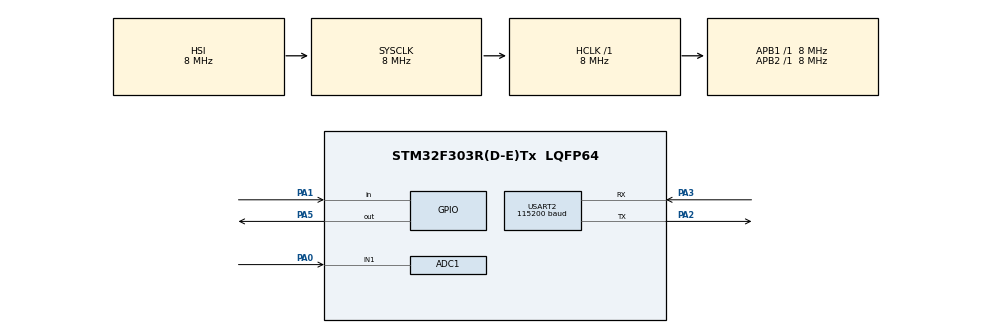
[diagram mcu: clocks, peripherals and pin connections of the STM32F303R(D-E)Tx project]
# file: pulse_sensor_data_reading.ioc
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ADC1.Channel-0\#ChannelRegularConversion=ADC_CHANNEL_1
ADC1.ContinuousConvMode=ENABLE
ADC1.DMAContinuousRequests=ENABLE
ADC1.NbrOfConversionFlag=1
ADC1.Offset-0\#ChannelRegularConversion=0
ADC1.OffsetNumber-0\#ChannelRegularConversion=ADC_OFFSET_NONE
ADC1.Rank-0\#ChannelRegularConversion=1
ADC1.SamplingTime-0\#ChannelRegularConversion=ADC_SAMPLETIME_1CYCLE_5
ADC1.master=1
Dma.ADC1.0.Direction=DMA_PERIPH_TO_MEMORY
Dma.ADC1.0.Instance=DMA1_Channel1
Dma.ADC1.0.MemDataAlignment=DMA_MDATAALIGN_WORD
Dma.ADC1.0.MemInc=DMA_MINC_ENABLE
Dma.ADC1.0.Mode=DMA_NORMAL
Dma.ADC1.0.PeriphDataAlignment=DMA_PDATAALIGN_HALFWORD
Dma.ADC1.0.PeriphInc=DMA_PINC_DISABLE
Dma.ADC1.0.Priority=DMA_PRIORITY_LOW
Dma.Request0=ADC1
Mcu.Family=STM32F3
Mcu.Name=STM32F303R(D-E)Tx
Mcu.Package=LQFP64
NVIC.DMA1_Channel1_IRQn=true\:0\:0\:false\:false\:true\:false\:true
NVIC.PriorityGroup=NVIC_PRIORITYGROUP_4
PA0.Mode=IN1-Single-Ended
PA0.Signal=ADC1_IN1
PA1.Signal=GPIO_Input
PA2.Mode=Asynchronous
PA2.Signal=USART2_TX
PA3.Mode=Asynchronous
PA3.Signal=USART2_RX
PA5.Signal=GPIO_Output
ProjectManager.HeapSize=0x200
ProjectManager.StackSize=0x400
ProjectManager.TargetToolchain=STM32CubeIDE
RCC.AHBFreq_Value=8000000
RCC.APB1Freq_Value=8000000
RCC.APB2Freq_Value=8000000
RCC.CortexFreq_Value=8000000
RCC.HSE_VALUE=8000000
RCC.HSI_VALUE=8000000
RCC.LSE_VALUE=32768
RCC.SYSCLKFreq_VALUE=8000000
RCC.USBFreq_Value=16000000
USART2.BaudRate=115200
USART2.VirtualMode-Asynchronous=VM_ASYNC
board=custom

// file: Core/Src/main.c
/* USER CODE BEGIN Header */
/**
  ******************************************************************************
  * @file           : main.c
  * @brief          : Main program body
  ******************************************************************************
  * @attention
  *
  * <h2><center>&copy; Copyright (c) 2020 STMicroelectronics.
  * All rights reserved.</center></h2>
  *
  * This software component is licensed by ST under BSD 3-Clause license,
  * the "License"; You may not use this file except in compliance with the
  * License. You may obtain a copy of the License at:
  *                        opensource.org/licenses/BSD-3-Clause
  *
  ******************************************************************************
  */
/* USER CODE END Header */

#include "main.h"

/* USER CODE BEGIN Includes */
#include <stdio.h>
#include <string.h>
/* USER CODE END Includes */

/* USER CODE BEGIN PD */
#define ADC_BUFFER_LEN 4096
/* USER CODE END PD */

ADC_HandleTypeDef hadc1;
DMA_HandleTypeDef hdma_adc1;

UART_HandleTypeDef huart2;

/* USER CODE BEGIN PV */
uint32_t g_pValues[ADC_BUFFER_LEN] = {0};

/* USER CODE END PV */

void SystemClock_Config(void);
static void MX_GPIO_Init(void);
static void MX_ADC1_Init(void);
static void MX_USART2_UART_Init(void);
static void MX_DMA_Init(void);

/* USER CODE BEGIN 0 */
void DMA_TransferComplete(DMA_HandleTypeDef *hdma)
{
	huart2.Instance->CR3 &= ~USART_CR3_DMAT;

	HAL_GPIO_TogglePin(GPIOA, GPIO_PIN_5);
}
/* USER CODE END 0 */

int main(void)
{

  /* MCU Configuration--------------------------------------------------------*/

  /* Reset of all peripherals, Initializes the Flash interface and the Systick. */
  HAL_Init();

  /* Configure the system clock */
  SystemClock_Config();

  /* Initialize all configured peripherals */
  MX_GPIO_Init();
  MX_ADC1_Init();
  MX_USART2_UART_Init();
  MX_DMA_Init();
  /* USER CODE BEGIN 2 */
  HAL_ADC_Start_DMA(&hadc1, g_pValues, ADC_BUFFER_LEN);
  /* USER CODE END 2 */

  /* Infinite loop */
  /* USER CODE BEGIN WHILE */
  char chMsg[10] = {0};
  uint32_t uiValue = 0, uiDigitVal = 0;
  while (1)
  {
    /* USER CODE END WHILE */

    /* USER CODE BEGIN 3 */
	  HAL_ADC_Start(&hadc1);
	  HAL_ADC_PollForConversion(&hadc1, HAL_MAX_DELAY);
	  uiValue = HAL_ADC_GetValue(&hadc1);
	  //uiDigitVal = HAL_GPIO_ReadPin(GPIOA, GPIO_PIN_1);
	  sprintf(chMsg, "%u\n\r", uiValue);
	  HAL_UART_Transmit(&huart2, chMsg, strlen(chMsg), HAL_MAX_DELAY);
  }
  /* USER CODE END 3 */
}

void SystemClock_Config(void)
{
  RCC_OscInitTypeDef RCC_OscInitStruct = {0};
  RCC_ClkInitTypeDef RCC_ClkInitStruct = {0};
  RCC_PeriphCLKInitTypeDef PeriphClkInit = {0};

  /** Initializes the CPU, AHB and APB busses clocks
  */
  RCC_OscInitStruct.OscillatorType = RCC_OSCILLATORTYPE_HSI;
  RCC_OscInitStruct.HSIState = RCC_HSI_ON;
  RCC_OscInitStruct.HSICalibrationValue = RCC_HSICALIBRATION_DEFAULT;
  RCC_OscInitStruct.PLL.PLLState = RCC_PLL_ON;
  RCC_OscInitStruct.PLL.PLLSource = RCC_PLLSOURCE_HSI;
  RCC_OscInitStruct.PLL.PLLMUL = RCC_PLL_MUL2;
  RCC_OscInitStruct.PLL.PREDIV = RCC_PREDIV_DIV1;
  if (HAL_RCC_OscConfig(&RCC_OscInitStruct) != HAL_OK)
  {
    Error_Handler();
  }
  /** Initializes the CPU, AHB and APB busses clocks
  */
  RCC_ClkInitStruct.ClockType = RCC_CLOCKTYPE_HCLK|RCC_CLOCKTYPE_SYSCLK
                              |RCC_CLOCKTYPE_PCLK1|RCC_CLOCKTYPE_PCLK2;
  RCC_ClkInitStruct.SYSCLKSource = RCC_SYSCLKSOURCE_HSI;
  RCC_ClkInitStruct.AHBCLKDivider = RCC_SYSCLK_DIV1;
  RCC_ClkInitStruct.APB1CLKDivider = RCC_HCLK_DIV1;
  RCC_ClkInitStruct.APB2CLKDivider = RCC_HCLK_DIV1;

  if (HAL_RCC_ClockConfig(&RCC_ClkInitStruct, FLASH_LATENCY_0) != HAL_OK)
  {
    Error_Handler();
  }
  PeriphClkInit.PeriphClockSelection = RCC_PERIPHCLK_USART2|RCC_PERIPHCLK_ADC12;
  PeriphClkInit.Usart2ClockSelection = RCC_USART2CLKSOURCE_PCLK1;
  PeriphClkInit.Adc12ClockSelection = RCC_ADC12PLLCLK_DIV1;
  if (HAL_RCCEx_PeriphCLKConfig(&PeriphClkInit) != HAL_OK)
  {
    Error_Handler();
  }
}

static void MX_ADC1_Init(void)
{

  ADC_MultiModeTypeDef multimode = {0};
  ADC_ChannelConfTypeDef sConfig = {0};

  /** Common config
  */
  hadc1.Instance = ADC1;
  hadc1.Init.ClockPrescaler = ADC_CLOCK_ASYNC_DIV1;
  hadc1.Init.Resolution = ADC_RESOLUTION_12B;
  hadc1.Init.ScanConvMode = ADC_SCAN_DISABLE;
  hadc1.Init.ContinuousConvMode = ENABLE;
  hadc1.Init.DiscontinuousConvMode = DISABLE;
  hadc1.Init.ExternalTrigConvEdge = ADC_EXTERNALTRIGCONVEDGE_NONE;
  hadc1.Init.ExternalTrigConv = ADC_SOFTWARE_START;
  hadc1.Init.DataAlign = ADC_DATAALIGN_RIGHT;
  hadc1.Init.NbrOfConversion = 1;
  hadc1.Init.DMAContinuousRequests = ENABLE;
  hadc1.Init.EOCSelection = ADC_EOC_SINGLE_CONV;
  hadc1.Init.LowPowerAutoWait = DISABLE;
  hadc1.Init.Overrun = ADC_OVR_DATA_OVERWRITTEN;
  if (HAL_ADC_Init(&hadc1) != HAL_OK)
  {
    Error_Handler();
  }
  /** Configure the ADC multi-mode
  */
  multimode.Mode = ADC_MODE_INDEPENDENT;
  if (HAL_ADCEx_MultiModeConfigChannel(&hadc1, &multimode) != HAL_OK)
  {
    Error_Handler();
  }
  /** Configure Regular Channel
  */
  sConfig.Channel = ADC_CHANNEL_1;
  sConfig.Rank = ADC_REGULAR_RANK_1;
  sConfig.SingleDiff = ADC_SINGLE_ENDED;
  sConfig.SamplingTime = ADC_SAMPLETIME_1CYCLE_5;
  sConfig.OffsetNumber = ADC_OFFSET_NONE;
  sConfig.Offset = 0;
  if (HAL_ADC_ConfigChannel(&hadc1, &sConfig) != HAL_OK)
  {
    Error_Handler();
  }

}

static void MX_USART2_UART_Init(void)
{

  huart2.Instance = USART2;
  huart2.Init.BaudRate = 115200;
  huart2.Init.WordLength = UART_WORDLENGTH_8B;
  huart2.Init.StopBits = UART_STOPBITS_1;
  huart2.Init.Parity = UART_PARITY_NONE;
  huart2.Init.Mode = UART_MODE_TX_RX;
  huart2.Init.HwFlowCtl = UART_HWCONTROL_NONE;
  huart2.Init.OverSampling = UART_OVERSAMPLING_16;
  huart2.Init.OneBitSampling = UART_ONE_BIT_SAMPLE_DISABLE;
  huart2.AdvancedInit.AdvFeatureInit = UART_ADVFEATURE_NO_INIT;
  if (HAL_UART_Init(&huart2) != HAL_OK)
  {
    Error_Handler();
  }

}

static void MX_DMA_Init(void)
{

  /* DMA controller clock enable */
  __HAL_RCC_DMA1_CLK_ENABLE();

  /* DMA interrupt init */
  /* DMA1_Channel1_IRQn interrupt configuration */
  HAL_NVIC_SetPriority(DMA1_Channel1_IRQn, 0, 0);
  HAL_NVIC_EnableIRQ(DMA1_Channel1_IRQn);

}

static void MX_GPIO_Init(void)
{
  GPIO_InitTypeDef GPIO_InitStruct = {0};

  /* GPIO Ports Clock Enable */
  __HAL_RCC_GPIOA_CLK_ENABLE();

  /*Configure GPIO pin Output Level */
  HAL_GPIO_WritePin(GPIOA, GPIO_PIN_5, GPIO_PIN_RESET);

  /*Configure GPIO pin : PA1 */
  GPIO_InitStruct.Pin = GPIO_PIN_1;
  GPIO_InitStruct.Mode = GPIO_MODE_INPUT;
  GPIO_InitStruct.Pull = GPIO_NOPULL;
  HAL_GPIO_Init(GPIOA, &GPIO_InitStruct);

  /*Configure GPIO pin : PA5 */
  GPIO_InitStruct.Pin = GPIO_PIN_5;
  GPIO_InitStruct.Mode = GPIO_MODE_OUTPUT_PP;
  GPIO_InitStruct.Pull = GPIO_NOPULL;
  GPIO_InitStruct.Speed = GPIO_SPEED_FREQ_LOW;
  HAL_GPIO_Init(GPIOA, &GPIO_InitStruct);

}

/* USER CODE BEGIN 4 */
void HAL_ADC_ConvHalfCpltCallback(ADC_HandleTypeDef* hadc)
{
    HAL_GPIO_WritePin(GPIOA, GPIO_PIN_5, SET);
}

void HAL_ADC_ConvFullCpltCallback(ADC_HandleTypeDef* hadc)
{
    HAL_GPIO_WritePin(GPIOA, GPIO_PIN_5, RESET);
}
/* USER CODE END 4 */

void Error_Handler(void)
{
}

/************************ (C) COPYRIGHT STMicroelectronics *****END OF FILE****/
